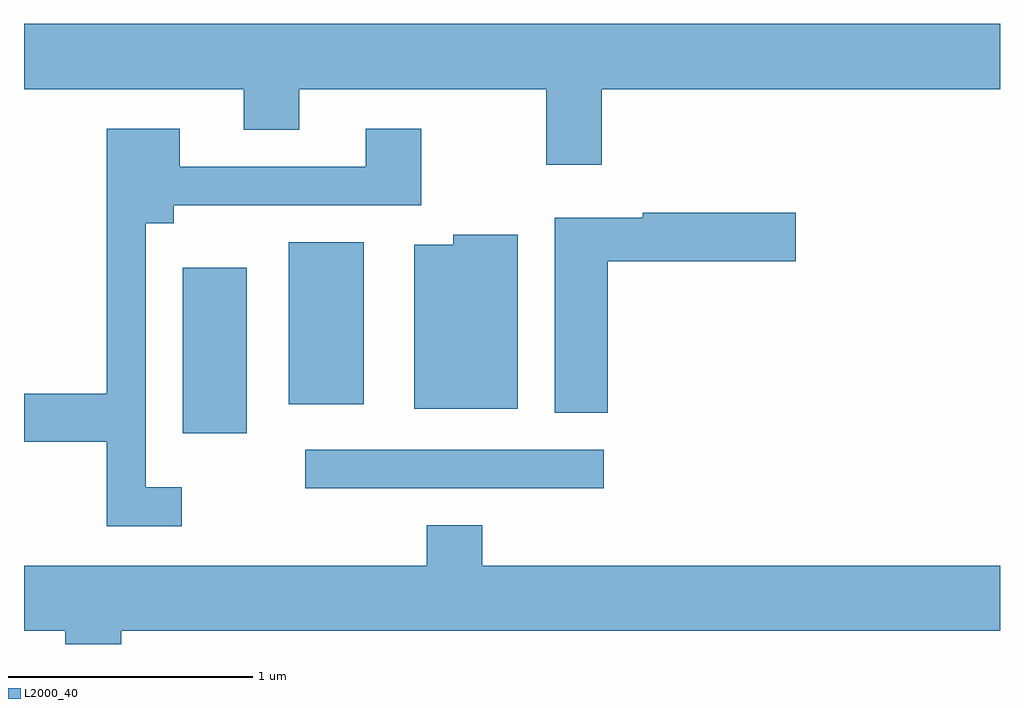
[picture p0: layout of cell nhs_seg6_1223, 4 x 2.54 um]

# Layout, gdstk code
import gdstk
lib = gdstk.Library(unit=1e-6, precision=1e-09)
def R(c, l, rs):  # rectangles x0, y0, x1, y1
    for r in rs: c.add(gdstk.rectangle(r[:2], r[2:], *l))
def P(c, l, *ps):  # polygons
    for p in ps: c.add(gdstk.Polygon(p, *l))
L2000_40 = (2000, 40)

nhs_seg6_1223 = lib.new_cell('nhs_seg6_1223')
R(nhs_seg6_1223, L2000_40, [(222.763,1592.801,223.988,1592.959), (222.261,1593.026,222.524,1593.704), (222.696,1593.146,223.004,1593.809)])
P(nhs_seg6_1223, L2000_40, [(223.979,1594.436),(225.611,1594.436),(225.611,1594.704),(221.611,1594.704),(221.611,1594.436),(222.511,1594.436),(222.511,1594.271),(222.739,1594.271),(222.739,1594.436),(223.751,1594.436),(223.751,1594.126),(223.979,1594.126)],
  [(222.258,1592.804),(222.109,1592.804),(222.109,1593.886),(222.224,1593.886),(222.224,1593.961),(223.239,1593.961),(223.239,1594.274),(223.011,1594.274),(223.011,1594.119),(222.249,1594.119),(222.249,1594.274),(221.951,1594.274),(221.951,1593.189),(221.611,1593.189),(221.611,1592.991),(221.951,1592.991),(221.951,1592.646),(222.258,1592.646)],
  [(224.004,1593.731),(224.774,1593.731),(224.774,1593.929),(224.146,1593.929),(224.146,1593.909),(223.786,1593.909),(223.786,1593.111),(224.004,1593.111)],
  [(223.634,1593.839),(223.371,1593.839),(223.371,1593.799),(223.211,1593.799),(223.211,1593.126),(223.634,1593.126)],
  [(222.009,1592.216),(225.611,1592.216),(225.611,1592.484),(223.489,1592.484),(223.489,1592.649),(223.261,1592.649),(223.261,1592.484),(221.611,1592.484),(221.611,1592.216),(221.781,1592.216),(221.781,1592.162),(222.009,1592.162)])

lib.write_gds('nhs_seg6_1223.gds')
